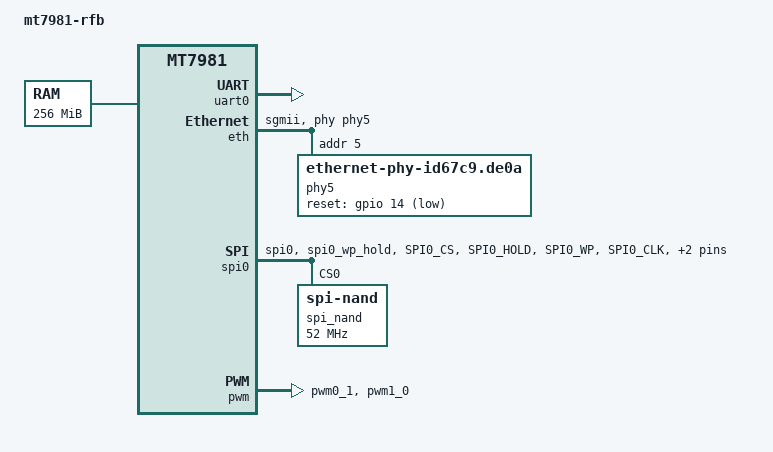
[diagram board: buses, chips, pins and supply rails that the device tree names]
// SPDX-License-Identifier: GPL-2.0
/*
 * Copyright (c) 2022 MediaTek Inc.
 * Author: Sam Shih <sam.shih@mediatek.com>
 */

/dts-v1/;
#include "mt7981.dtsi"
#include <dt-bindings/gpio/gpio.h>

/ {
	#address-cells = <1>;
	#size-cells = <1>;
	model = "mt7981-rfb";
	compatible = "mediatek,mt7981", "mediatek,mt7981-rfb";
	chosen {
		stdout-path = &uart0;
		tick-timer = &timer0;
	};

	memory@40000000 {
		device_type = "memory";
		reg = <0x40000000 0x10000000>;
	};

	bl2_verify {
		bl2_compatible = "spim-nand";
	};
};

&uart0 {
	status = "okay";
};

&uart1 {
	pinctrl-names = "default";
	pinctrl-0 = <&uart1_pins>;
	status = "disabled";
};

&eth {
	status = "okay";
	mediatek,gmac-id = <1>;
	mediatek,sgmiisys = <&sgmiisys1>;
	phy-mode = "sgmii";
	phy-handle = <&phy5>;

	phy5: eth-phy@5 {
		compatible = "ethernet-phy-id67c9.de0a";
		reg = <5>;
		reset-gpios = <&gpio 14 GPIO_ACTIVE_LOW>;
		reset-assert-us = <600>;
		reset-deassert-us = <20000>;
	};
};

&pinctrl {
	spi_flash_pins: spi0-pins-func-1 {
		mux {
			function = "flash";
			groups = "spi0", "spi0_wp_hold";
		};

		conf-pu {
			pins = "SPI0_CS", "SPI0_HOLD", "SPI0_WP";
			drive-strength = <MTK_DRIVE_8mA>;
			bias-pull-up = <MTK_PUPD_SET_R1R0_11>;
		};

		conf-pd {
			pins = "SPI0_CLK", "SPI0_MOSI", "SPI0_MISO";
			drive-strength = <MTK_DRIVE_8mA>;
			bias-pull-down = <MTK_PUPD_SET_R1R0_11>;
		};
	};

	spic_pins: spi1-pins-func-1 {
		mux {
			function = "spi";
			groups = "spi1_1";
		};
	};

	uart1_pins: spi1-pins-func-3 {
		mux {
			function = "uart";
			groups = "uart1_2";
		};
	};

	/* pin15 as pwm0 */
	one_pwm_pins: one-pwm-pins {
		mux {
			function = "pwm";
			groups = "pwm0_1";
		};
	};

	/* pin15 as pwm0 and pin14 as pwm1 */
	two_pwm_pins: two-pwm-pins {
		mux {
			function = "pwm";
			groups = "pwm0_1", "pwm1_0";
		};
	};

	/* pin15 as pwm0, pin14 as pwm1, pin7 as pwm2 */
	three_pwm_pins: three-pwm-pins {
		mux {
			function = "pwm";
			groups = "pwm0_1", "pwm1_0", "pwm2";
		};
	};
};

&spi0 {
	#address-cells = <1>;
	#size-cells = <0>;
	pinctrl-names = "default";
	pinctrl-0 = <&spi_flash_pins>;
	status = "okay";
	must_tx;
	enhance_timing;
	dma_ext;
	ipm_design;
	support_quad;
	tick_dly = <2>;
	sample_sel = <0>;

	spi_nand@0 {
		compatible = "spi-nand";
		reg = <0>;
		spi-max-frequency = <52000000>;
	};
};

&pwm {
	pinctrl-names = "default";
	pinctrl-0 = <&two_pwm_pins>;
	status = "okay";
};

&watchdog {
	status = "disabled";
};
